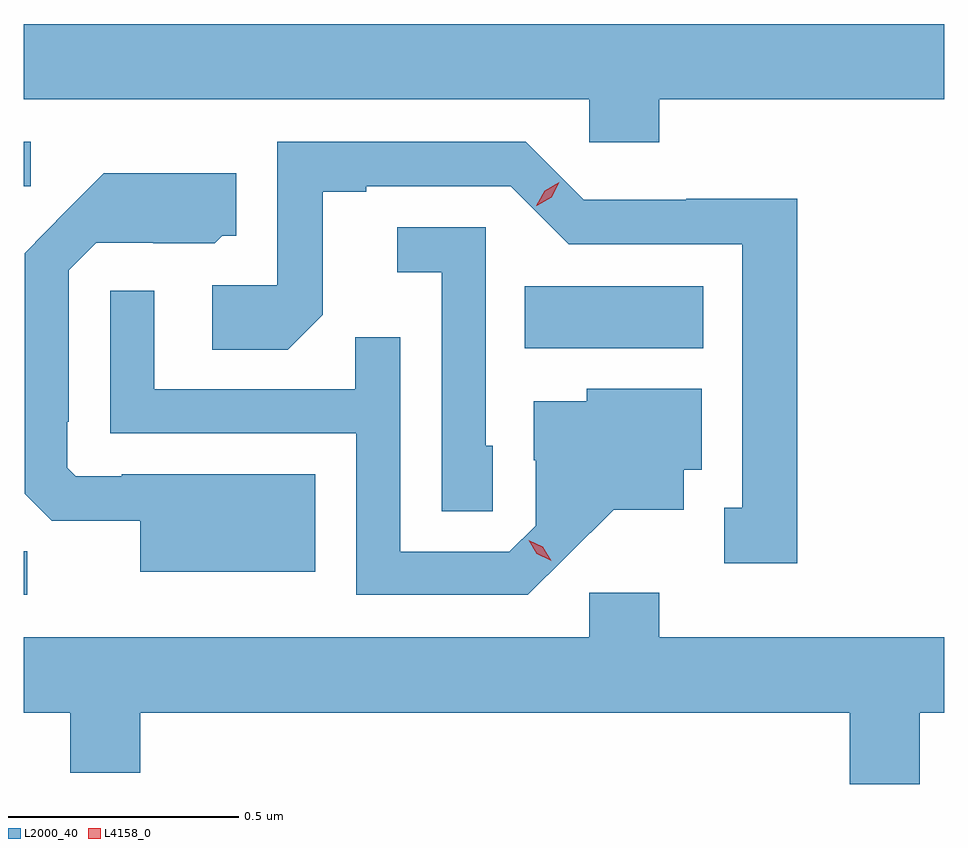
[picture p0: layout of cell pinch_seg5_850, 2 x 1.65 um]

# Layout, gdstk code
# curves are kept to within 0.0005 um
import gdstk
lib = gdstk.Library(unit=1e-6, precision=1e-09)
def R(c, l, rs):  # rectangles x0, y0, x1, y1
    for r in rs: c.add(gdstk.rectangle(r[:2], r[2:], *l))
def P(c, l, *ps):  # polygons
    for p in ps: c.add(gdstk.Polygon(p, *l))
L2000_40 = (2000, 40)
L4158_0 = (4158, 0)

pinch_seg5_850 = lib.new_cell('pinch_seg5_850')
R(pinch_seg5_850, L2000_40, [(789.847,890.316,789.855,890.411), (790.936,890.852,791.323,890.986), (789.847,891.204,789.862,891.3)])
P(pinch_seg5_850, L2000_40, [(791.228,891.392),(791.847,891.392),(791.847,891.556),(789.847,891.556),(789.847,891.392),(791.076,891.392),(791.076,891.299),(791.228,891.299)],
  [(791.527,891.176),(791.286,891.176),(791.286,891.174),(791.064,891.174),(790.938,891.3),(790.398,891.3),(790.398,890.988),(790.257,890.988),(790.257,890.848),(790.421,890.848),(790.497,890.924),(790.497,891.192),(790.591,891.192),(790.591,891.204),(790.905,891.204),(791.031,891.078),(791.408,891.078),(791.408,890.505),(791.369,890.505),(791.369,890.385),(791.527,890.385)],
  [(790.48,890.578),(790.06,890.578),(790.06,890.574),(789.96,890.574),(789.942,890.592),(789.942,890.692),(789.945,890.692),(789.945,891.021),(790.005,891.081),(790.128,891.081),(790.128,891.08),(790.262,891.08),(790.278,891.096),(790.309,891.096),(790.309,891.232),(790.021,891.232),(789.849,891.058),(789.849,890.536),(789.908,890.477),(790.1,890.477),(790.1,890.366),(790.48,890.366)],
  [(790.866,890.64),(790.851,890.64),(790.851,891.114),(790.659,891.114),(790.659,891.017),(790.755,891.017),(790.755,890.497),(790.866,890.497)],
  [(791.026,890.399),(791.129,890.501),(791.281,890.501),(791.281,890.588),(791.32,890.588),(791.32,890.764),(791.07,890.764),(791.07,890.737),(790.955,890.737),(790.955,890.608),(790.959,890.608),(790.959,890.466),(790.902,890.409),(790.665,890.409),(790.665,890.876),(790.567,890.876),(790.567,890.763),(790.131,890.763),(790.131,890.977),(790.035,890.977),(790.035,890.667),(790.569,890.667),(790.569,890.316),(790.942,890.316)],
  [(791.794,890.06),(791.847,890.06),(791.847,890.224),(791.228,890.224),(791.228,890.32),(791.076,890.32),(791.076,890.224),(789.847,890.224),(789.847,890.06),(789.948,890.06),(789.948,889.929),(790.1,889.929),(790.1,890.06),(791.642,890.06),(791.642,889.905),(791.794,889.905)])
P(pinch_seg5_850, L4158_0, [(790.961,891.161),(790.961,891.161),(790.979,891.194),(791.011,891.212),(791.011,891.212),(791.011,891.212),(790.994,891.18),(790.962,891.161)],
  [(790.993,890.39),(790.962,890.405),(790.944,890.435),(790.944,890.435),(790.944,890.435),(790.975,890.42),(790.993,890.39),(790.993,890.39)])

lib.write_gds('pinch_seg5_850.gds')
